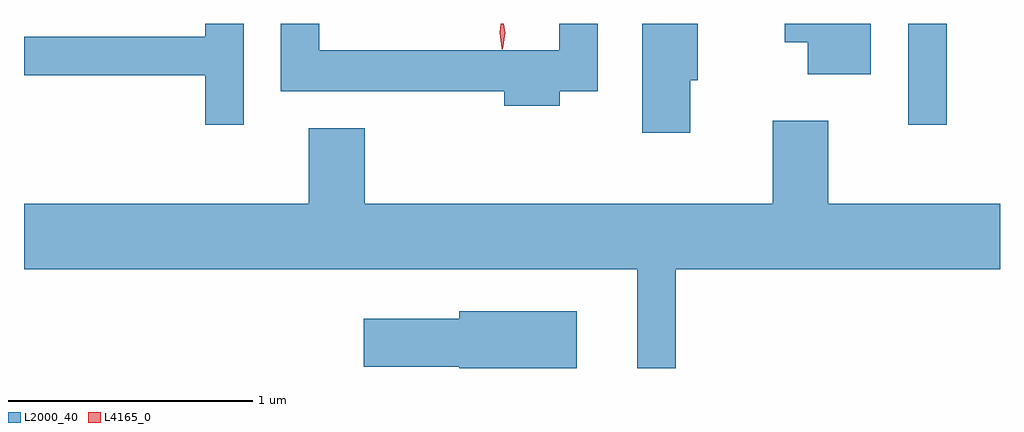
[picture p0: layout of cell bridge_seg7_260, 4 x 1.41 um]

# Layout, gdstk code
import gdstk
lib = gdstk.Library(unit=1e-6, precision=1e-09)
def R(c, l, rs):  # rectangles x0, y0, x1, y1
    for r in rs: c.add(gdstk.rectangle(r[:2], r[2:], *l))
def P(c, l, *ps):  # polygons
    for p in ps: c.add(gdstk.Polygon(p, *l))
L2000_40 = (2000, 40)
L4165_0 = (4165, 0)

bridge_seg7_260 = lib.new_cell('bridge_seg7_260')
R(bridge_seg7_260, L2000_40, [(1380.036,1805.928,1380.194,1806.342)])
P(bridge_seg7_260, L2000_40, [(1379.144,1806.111),(1379.174,1806.111),(1379.174,1806.342),(1378.946,1806.342),(1378.946,1805.896),(1379.144,1805.896)],
  [(1377.314,1806.342),(1377.156,1806.342),(1377.156,1806.289),(1376.413,1806.289),(1376.413,1806.131),(1377.156,1806.131),(1377.156,1805.928),(1377.314,1805.928)],
  [(1379.884,1806.342),(1379.531,1806.342),(1379.531,1806.266),(1379.626,1806.266),(1379.626,1806.136),(1379.884,1806.136)],
  [(1378.609,1806.066),(1378.764,1806.066),(1378.764,1806.342),(1378.606,1806.342),(1378.606,1806.234),(1377.624,1806.234),(1377.624,1806.342),(1377.466,1806.342),(1377.466,1806.066),(1378.381,1806.066),(1378.381,1806.006),(1378.609,1806.006)],
  [(1379.084,1805.336),(1380.413,1805.336),(1380.413,1805.604),(1379.709,1805.604),(1379.709,1805.944),(1379.481,1805.944),(1379.481,1805.604),(1377.809,1805.604),(1377.809,1805.914),(1377.581,1805.914),(1377.581,1805.604),(1376.413,1805.604),(1376.413,1805.336),(1378.926,1805.336),(1378.926,1804.931),(1379.084,1804.931)],
  [(1378.679,1805.164),(1378.196,1805.164),(1378.196,1805.134),(1377.806,1805.134),(1377.806,1804.936),(1378.196,1804.936),(1378.196,1804.931),(1378.679,1804.931)])
P(bridge_seg7_260, L4165_0, [(1378.374,1806.237),(1378.365,1806.306),(1378.37,1806.342),(1378.38,1806.342),(1378.385,1806.306),(1378.376,1806.237)],
  [(1378.372,1806.239),(1378.372,1806.24),(1378.362,1806.306),(1378.367,1806.342),(1378.377,1806.342),(1378.382,1806.306),(1378.373,1806.24)])

lib.write_gds('bridge_seg7_260.gds')
